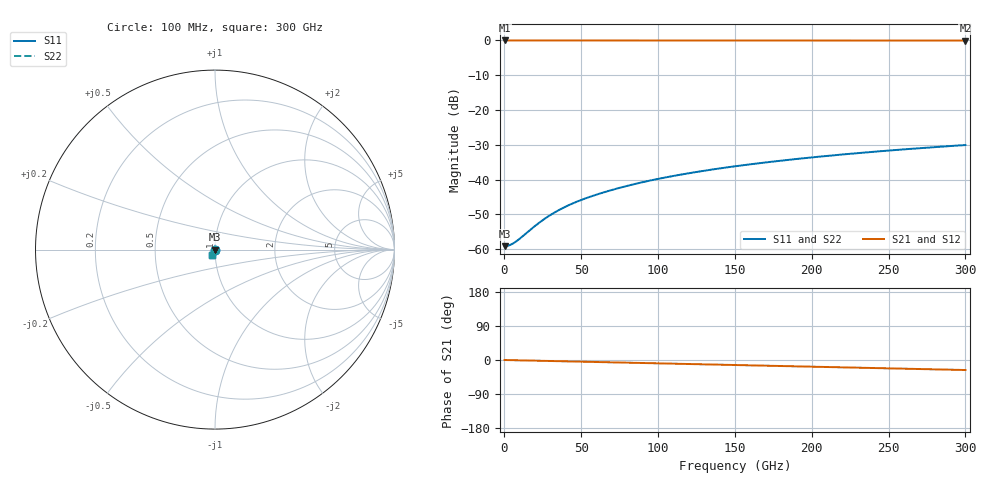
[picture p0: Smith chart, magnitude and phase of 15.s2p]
#  Hz  S  RI  R  50
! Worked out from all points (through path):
!   3000 points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, 100 MHz to 300 GHz, reference 50 ohm
!   highest |S21| = -0.01 dB at 200 MHz (marker M1); lowest = 0.0 dB at 300 GHz (marker M2)
!   group delay of S21, straight-line fit = 245 fs
!   lowest |S11| = -59.1 dB at 100 MHz (marker M3), VSWR 1.00, Z = 50.1 - j0.000749 ohm
!   |S11| at or under -10 dB: start of sweep to end of sweep
!   |S22| runs from -58.9 to -29.9 dB; largest |S21 - S12| = 1.7e-05
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1e8  0.00111 -7.47e-06  0.9989 -0.000158  0.9989 -0.000158  0.00113 -7.64e-06
2e8  0.00111 -1.49e-05  0.9989 -0.000315  0.9989 -0.000315  0.00113 -1.53e-05
1.9e9  0.00111 -0.000142  0.9988 -0.003  0.9988 -0.003  0.00114 -0.000145
3.5e9  0.00112 -0.000263  0.9988 -0.00552  0.9988 -0.00552  0.00114 -0.000269
7.2e9  0.00115 -0.00055  0.9987 -0.0113  0.9987 -0.0113  0.00117 -0.000562
1.05e10  0.0012 -0.00082  0.9986 -0.0165  0.9986 -0.0165  0.00122 -0.000837
2.21e10  0.00138 -0.00191  0.9979 -0.0344  0.9979 -0.0344  0.00139 -0.00194
2.67e10  0.00143 -0.0024  0.9975 -0.0415  0.9975 -0.0415  0.00143 -0.00243
3.13e10  0.00145 -0.0029  0.9971 -0.0485  0.9971 -0.0485  0.00145 -0.00294
3.56e10  0.00145 -0.00337  0.9968 -0.055  0.9968 -0.055  0.00145 -0.00342
4.01e10  0.00142 -0.00387  0.9964 -0.0619  0.9964 -0.0619  0.00142 -0.00392
5.01e10  0.00131 -0.00495  0.9952 -0.0772  0.9952 -0.0772  0.00131 -0.00502
6.05e10  0.00114 -0.00604  0.9938 -0.0931  0.9938 -0.0931  0.00114 -0.00614
7.27e10  0.000917 -0.00733  0.9917 -0.1117  0.9917 -0.1117  0.000914 -0.00745
8.6e10  0.000594 -0.00876  0.9891 -0.1319  0.9891 -0.1319  0.000592 -0.0089
1.001e11  0.00015 -0.0103  0.9859 -0.1533  0.9859 -0.1533  0.000151 -0.0104
1.235e11  -0.000774 -0.0127  0.9795 -0.1886  0.9795 -0.1886  -0.000773 -0.0129
1.501e11  -0.0021 -0.0154  0.9708 -0.2284  0.9708 -0.2284  -0.00211 -0.0156
1.737e11  -0.00353 -0.0177  0.9616 -0.2634  0.9616 -0.2634  -0.00353 -0.018
2.001e11  -0.00539 -0.0202  0.9499 -0.3021  0.9499 -0.3021  -0.00539 -0.0205
2.501e11  -0.00959 -0.0244  0.9235 -0.3741  0.9235 -0.3741  -0.00959 -0.0247
3e11  -0.0146 -0.0278  0.8915 -0.4436  0.8915 -0.4437  -0.0146 -0.0283
